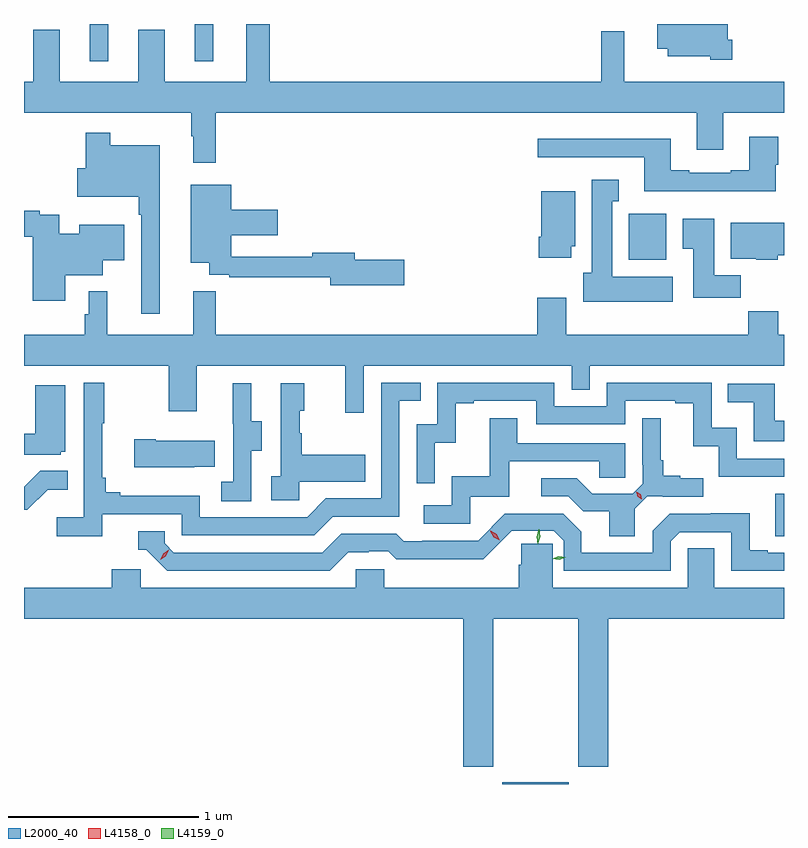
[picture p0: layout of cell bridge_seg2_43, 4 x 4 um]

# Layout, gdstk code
import gdstk
lib = gdstk.Library(unit=1e-6, precision=1e-09)
def R(c, l, rs):  # rectangles x0, y0, x1, y1
    for r in rs: c.add(gdstk.rectangle(r[:2], r[2:], *l))
def P(c, l, *ps):  # polygons
    for p in ps: c.add(gdstk.Polygon(p, *l))
L2000_40 = (2000, 40)
L4158_0 = (4158, 0)
L4159_0 = (4159, 0)

bridge_seg2_43 = lib.new_cell('bridge_seg2_43')
R(bridge_seg2_43, L2000_40, [(1012.07,633.447,1012.42,633.457), (1013.507,634.75,1013.552,634.974), (1012.736,636.206,1012.933,636.448), (1009.898,637.251,1009.996,637.447), (1010.45,637.251,1010.548,637.447)])
P(bridge_seg2_43, L2000_40, [(1013.279,637.363),(1013.257,637.363),(1013.257,637.447),(1012.886,637.447),(1012.886,637.316),(1012.94,637.316),(1012.94,637.277),(1013.163,637.277),(1013.163,637.259),(1013.279,637.259)],
  [(1010.561,636.98),(1013.093,636.98),(1013.093,636.786),(1013.233,636.786),(1013.233,636.98),(1013.552,636.98),(1013.552,637.144),(1012.71,637.144),(1012.71,637.408),(1012.591,637.408),(1012.591,637.144),(1010.845,637.144),(1010.845,637.447),(1010.723,637.447),(1010.723,637.144),(1010.293,637.144),(1010.293,637.417),(1010.153,637.417),(1010.153,637.144),(1009.741,637.144),(1009.741,637.417),(1009.601,637.417),(1009.601,637.144),(1009.552,637.144),(1009.552,636.98),(1010.433,636.98),(1010.433,636.857),(1010.444,636.857),(1010.444,636.717),(1010.561,636.717)],
  [(1010.266,636.808),(1010.005,636.808),(1010.005,636.874),(1009.876,636.874),(1009.876,636.687),(1009.832,636.687),(1009.832,636.539),(1010.157,636.539),(1010.157,636.443),(1010.169,636.443),(1010.169,635.922),(1010.266,635.922)],
  [(1013.509,636.705),(1013.522,636.705),(1013.522,636.853),(1013.369,636.853),(1013.369,636.676),(1013.273,636.676),(1013.273,636.663),(1013.053,636.663),(1013.053,636.676),(1012.957,636.676),(1012.957,636.844),(1012.257,636.844),(1012.257,636.747),(1012.817,636.747),(1012.817,636.566),(1013.509,636.566)],
  [(1012.966,636.118),(1012.648,636.118),(1012.648,636.515),(1012.681,636.515),(1012.681,636.628),(1012.541,636.628),(1012.541,636.138),(1012.496,636.138),(1012.496,635.984),(1012.966,635.984)],
  [(1011.553,636.206),(1011.292,636.206),(1011.292,636.242),(1011.068,636.242),(1011.068,636.222),(1010.644,636.222),(1010.644,636.335),(1010.887,636.335),(1010.887,636.47),(1010.644,636.47),(1010.644,636.601),(1010.429,636.601),(1010.429,636.191),(1010.528,636.191),(1010.528,636.126),(1010.632,636.126),(1010.632,636.114),(1011.164,636.114),(1011.164,636.071),(1011.553,636.071)],
  [(1012.432,636.276),(1012.453,636.276),(1012.453,636.568),(1012.274,636.568),(1012.274,636.328),(1012.262,636.328),(1012.262,636.216),(1012.432,636.216)],
  [(1009.768,636.125),(1009.966,636.125),(1009.966,636.203),(1010.08,636.203),(1010.08,636.391),(1009.844,636.391),(1009.844,636.343),(1009.738,636.343),(1009.738,636.444),(1009.634,636.444),(1009.634,636.464),(1009.552,636.464),(1009.552,636.328),(1009.598,636.328),(1009.598,635.991),(1009.768,635.991)],
  [(1013.324,636.124),(1013.185,636.124),(1013.185,636.421),(1013.018,636.421),(1013.018,636.265),(1013.075,636.265),(1013.075,636.006),(1013.324,636.006)],
  [(1013.52,636.23),(1013.552,636.23),(1013.552,636.4),(1013.273,636.4),(1013.273,636.212),(1013.406,636.212),(1013.406,636.206),(1013.52,636.206)],
  [(1011.339,635.648),(1012.434,635.648),(1012.434,635.521),(1012.53,635.521),(1012.53,635.648),(1013.552,635.648),(1013.552,635.812),(1013.522,635.812),(1013.522,635.936),(1013.365,635.936),(1013.365,635.812),(1012.405,635.812),(1012.405,636.007),(1012.253,636.007),(1012.253,635.812),(1010.561,635.812),(1010.561,636.041),(1010.444,636.041),(1010.444,635.812),(1009.991,635.812),(1009.991,636.04),(1009.893,636.04),(1009.893,635.919),(1009.873,635.919),(1009.873,635.812),(1009.552,635.812),(1009.552,635.648),(1010.314,635.648),(1010.314,635.409),(1010.461,635.409),(1010.461,635.648),(1011.242,635.648),(1011.242,635.4),(1011.339,635.4)],
  [(1009.964,634.866),(1010.382,634.866),(1010.382,634.755),(1011.079,634.755),(1011.178,634.854),(1011.528,634.854),(1011.528,635.463),(1011.641,635.463),(1011.641,635.559),(1011.432,635.559),(1011.432,634.95),(1011.141,634.95),(1011.042,634.851),(1010.478,634.851),(1010.478,634.963),(1010.059,634.963),(1010.059,634.982),(1009.982,634.982),(1009.982,635.059),(1009.963,635.059),(1009.963,635.347),(1009.975,635.347),(1009.975,635.56),(1009.866,635.56),(1009.866,634.852),(1009.725,634.852),(1009.725,634.75),(1009.964,634.75)],
  [(1011.714,635.243),(1011.824,635.243),(1011.824,635.451),(1011.919,635.451),(1011.919,635.463),(1012.248,635.463),(1012.248,635.34),(1012.716,635.34),(1012.716,635.463),(1012.979,635.463),(1012.979,635.451),(1013.075,635.451),(1013.075,635.225),(1013.208,635.225),(1013.208,635.064),(1013.552,635.064),(1013.552,635.16),(1013.304,635.16),(1013.304,635.323),(1013.172,635.323),(1013.172,635.559),(1012.62,635.559),(1012.62,635.436),(1012.344,635.436),(1012.344,635.559),(1011.726,635.559),(1011.726,635.34),(1011.618,635.34),(1011.618,635.031),(1011.714,635.031)],
  [(1011,635.039),(1011.347,635.039),(1011.347,635.179),(1011.013,635.179),(1011.013,635.294),(1011.003,635.294),(1011.003,635.412),(1011.028,635.412),(1011.028,635.557),(1010.904,635.557),(1010.904,635.066),(1010.853,635.066),(1010.853,634.941),(1011,634.941)],
  [(1010.748,635.2),(1010.803,635.2),(1010.803,635.355),(1010.749,635.355),(1010.749,635.557),(1010.651,635.557),(1010.651,635.343),(1010.652,635.343),(1010.652,635.039),(1010.589,635.039),(1010.589,634.936),(1010.748,634.936)],
  [(1013.552,635.359),(1013.503,635.359),(1013.503,635.553),(1013.257,635.553),(1013.257,635.456),(1013.392,635.456),(1013.392,635.25),(1013.552,635.25)],
  [(1009.746,635.196),(1009.768,635.196),(1009.768,635.545),(1009.61,635.545),(1009.61,635.29),(1009.552,635.29),(1009.552,635.181),(1009.746,635.181)],
  [(1011.9,634.959),(1012.105,634.959),(1012.105,635.145),(1012.579,635.145),(1012.579,635.06),(1012.716,635.06),(1012.716,635.241),(1012.147,635.241),(1012.147,635.371),(1012.003,635.371),(1012.003,635.068),(1011.804,635.068),(1011.804,634.914),(1011.657,634.914),(1011.657,634.818),(1011.9,634.818)],
  [(1012.767,634.897),(1012.832,634.962),(1012.914,634.962),(1012.914,634.959),(1013.128,634.959),(1013.128,635.056),(1013.007,635.056),(1013.007,635.07),(1012.917,635.07),(1012.917,635.152),(1012.903,635.152),(1012.903,635.371),(1012.806,635.371),(1012.806,635.128),(1012.809,635.128),(1012.809,635.028),(1012.755,634.974),(1012.543,634.974),(1012.462,635.055),(1012.275,635.055),(1012.275,634.962),(1012.416,634.962),(1012.496,634.882),(1012.631,634.882),(1012.631,634.75),(1012.767,634.75)],
  [(1010.447,635.117),(1010.555,635.117),(1010.555,635.254),(1010.245,635.254),(1010.245,635.262),(1010.133,635.262),(1010.133,635.114),(1010.447,635.114)],
  [(1009.677,634.997),(1009.781,634.997),(1009.781,635.096),(1009.637,635.096),(1009.552,635.011),(1009.552,634.89),(1009.57,634.89)],
  [(1011.259,634.668),(1011.366,634.668),(1011.366,634.671),(1011.469,634.671),(1011.511,634.629),(1011.744,634.629),(1011.744,634.631),(1011.97,634.631),(1012.12,634.781),(1012.339,634.781),(1012.394,634.726),(1012.394,634.569),(1012.956,634.569),(1012.956,634.725),(1013.004,634.773),(1013.274,634.773),(1013.274,634.569),(1013.552,634.569),(1013.552,634.665),(1013.467,634.665),(1013.467,634.678),(1013.371,634.678),(1013.371,634.871),(1013.166,634.871),(1013.166,634.869),(1012.95,634.869),(1012.86,634.779),(1012.86,634.665),(1012.484,634.665),(1012.484,634.774),(1012.389,634.869),(1012.083,634.869),(1011.942,634.728),(1011.649,634.728),(1011.649,634.725),(1011.55,634.725),(1011.511,634.764),(1011.222,634.764),(1011.123,634.665),(1010.34,634.665),(1010.292,634.713),(1010.292,634.776),(1010.153,634.776),(1010.153,634.68),(1010.196,634.68),(1010.307,634.569),(1011.16,634.569)],
  [(1012.023,634.316),(1012.468,634.316),(1012.468,633.537),(1012.628,633.537),(1012.628,634.316),(1013.552,634.316),(1013.552,634.48),(1013.185,634.48),(1013.185,634.688),(1013.046,634.688),(1013.046,634.48),(1012.334,634.48),(1012.334,634.711),(1012.169,634.711),(1012.169,634.6),(1012.157,634.6),(1012.157,634.48),(1011.447,634.48),(1011.447,634.578),(1011.297,634.578),(1011.297,634.48),(1010.166,634.48),(1010.166,634.578),(1010.015,634.578),(1010.015,634.48),(1009.552,634.48),(1009.552,634.316),(1011.863,634.316),(1011.863,633.537),(1012.023,633.537)])
P(bridge_seg2_43, L4158_0, [(1010.268,634.628),(1010.268,634.628),(1010.284,634.66),(1010.315,634.68),(1010.315,634.68),(1010.315,634.679),(1010.299,634.647),(1010.268,634.628)],
  [(1012.804,634.947),(1012.781,634.959),(1012.774,634.984),(1012.774,634.984),(1012.774,634.984),(1012.797,634.972),(1012.804,634.947),(1012.804,634.947)],
  [(1012.056,634.73),(1012.025,634.747),(1012.007,634.778),(1012.007,634.779),(1012.008,634.779),(1012.039,634.762),(1012.057,634.731),(1012.057,634.73)])
P(bridge_seg2_43, L4159_0, [(1012.368,634.626),(1012.331,634.632),(1012.331,634.632),(1012.331,634.632),(1012.366,634.646),(1012.403,634.641),(1012.403,634.641),(1012.403,634.64)],
  [(1012.257,634.708),(1012.257,634.708),(1012.25,634.749),(1012.262,634.789),(1012.262,634.789),(1012.263,634.789),(1012.27,634.748),(1012.257,634.708)])

lib.write_gds('bridge_seg2_43.gds')
